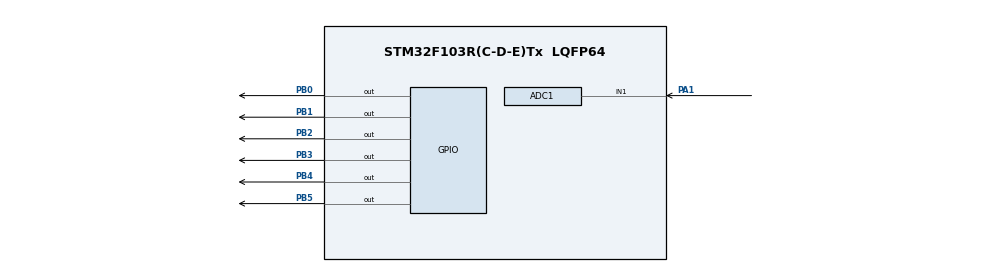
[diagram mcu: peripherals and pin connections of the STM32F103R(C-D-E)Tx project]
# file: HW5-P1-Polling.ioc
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ADC1.Channel-2\#ChannelRegularConversion=ADC_CHANNEL_1
ADC1.ContinuousConvMode=DISABLE
ADC1.NbrOfConversion=1
ADC1.NbrOfConversionFlag=1
ADC1.Rank-2\#ChannelRegularConversion=1
ADC1.SamplingTime-2\#ChannelRegularConversion=ADC_SAMPLETIME_239CYCLES_5
ADC1.master=1
Mcu.Family=STM32F1
Mcu.Name=STM32F103R(C-D-E)Tx
Mcu.Package=LQFP64
NVIC.PriorityGroup=NVIC_PRIORITYGROUP_4
PA1.Signal=ADCx_IN1
PA13.Mode=Serial_Wire
PA13.Signal=SYS_JTMS-SWDIO
PA14.Mode=Serial_Wire
PA14.Signal=SYS_JTCK-SWCLK
PB0.Signal=GPIO_Output
PB1.Signal=GPIO_Output
PB2.Signal=GPIO_Output
PB3.Signal=GPIO_Output
PB4.Signal=GPIO_Output
PB5.Signal=GPIO_Output
PD0-OSC_IN.Mode=HSE-External-Oscillator
PD0-OSC_IN.Signal=RCC_OSC_IN
PD1-OSC_OUT.Mode=HSE-External-Oscillator
PD1-OSC_OUT.Signal=RCC_OSC_OUT
ProjectManager.HeapSize=0x200
ProjectManager.StackSize=0x400
ProjectManager.TargetToolchain=MDK-ARM V5.32
RCC.APB1Freq_Value=8000000
RCC.APB2Freq_Value=8000000
SH.ADCx_IN1.0=ADC1_IN1,IN1
board=custom

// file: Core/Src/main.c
/* USER CODE BEGIN Header */
/**
  ******************************************************************************
  * @file           : main.c
  * @brief          : Main program body
  ******************************************************************************
  * @attention
  *
  * Copyright (c) 2026 STMicroelectronics.
  * All rights reserved.
  *
  * This software is licensed under terms that can be found in the LICENSE file
  * in the root directory of this software component.
  * If no LICENSE file comes with this software, it is provided AS-IS.
  *
  ******************************************************************************
  */
/* USER CODE END Header */
#include "main.h"

/* USER CODE BEGIN Includes */
#include "lcd.h"

/* USER CODE END Includes */

ADC_HandleTypeDef hadc1;

/* USER CODE BEGIN PV */
char lcd_buffer[16];
uint16_t raw_adc;
uint32_t sum_adc;
uint16_t avg_adc;
float final_voltage;
/* USER CODE END PV */

void SystemClock_Config(void);
static void MX_GPIO_Init(void);
static void MX_ADC1_Init(void);

int main(void)
{

  /* MCU Configuration--------------------------------------------------------*/

  /* Reset of all peripherals, Initializes the Flash interface and the Systick. */
  HAL_Init();

  /* Configure the system clock */
  SystemClock_Config();

  /* Initialize all configured peripherals */
  MX_GPIO_Init();
  MX_ADC1_Init();
  /* USER CODE BEGIN 2 */
	Lcd_PortType ports[] = { GPIOB, GPIOB, GPIOB, GPIOB };
  Lcd_PinType pins[] = {GPIO_PIN_0, GPIO_PIN_1, GPIO_PIN_2, GPIO_PIN_3};
  Lcd_HandleTypeDef lcd;
  lcd = Lcd_create(ports, pins, GPIOB, GPIO_PIN_4, GPIOB, GPIO_PIN_5, LCD_4_BIT_MODE);

  /* USER CODE END 2 */

  /* Infinite loop */
  /* USER CODE BEGIN WHILE */
  while (1)
  {
		uint32_t sum_adc = 0;
      uint8_t valid_samples = 0;

      // 1. Force the STM32 to wait for EXACTLY 50 successful conversions
      while(valid_samples < 50)
      {
          HAL_ADC_Start(&hadc1);

          // Use HAL_MAX_DELAY so Proteus cannot time out and skip a reading
          if(HAL_ADC_PollForConversion(&hadc1, HAL_MAX_DELAY) == HAL_OK)
          {
              sum_adc += HAL_ADC_GetValue(&hadc1);
              valid_samples++; // Only count it if it successfully reads!
          }
      }

      // Calculate the true average
      uint16_t avg_adc = sum_adc / 50;

      // 2. INTEGER MATH TRICK (Bypasses the need for floats and MicroLIB)
      // Multiply by 330 (instead of 3.3) to keep everything as whole numbers
      uint32_t volt_x100 = (avg_adc * 330) / 4095;

      uint8_t whole_part = volt_x100 / 100;     // Extracts the '3'
      uint8_t decimal_part = volt_x100 % 100;   // Extracts the '30'

      // Print the Raw integer average to Row 0
      snprintf(lcd_buffer, sizeof(lcd_buffer), "Raw Avg: %d    ", avg_adc);
      Lcd_cursor(&lcd, 0, 0);
      Lcd_string(&lcd, lcd_buffer);

      // Print the Voltage using our safe integers (e.g., "Volt: 3.30 V")
      // %d prints the whole number, %02d ensures the decimal prints two digits (like .05)
      snprintf(lcd_buffer, sizeof(lcd_buffer), "Volt: %d.%02d V   ", whole_part, decimal_part);
      Lcd_cursor(&lcd, 1, 0);
      Lcd_string(&lcd, lcd_buffer);

      // Wait half a second before grabbing the next batch
      HAL_Delay(500);
    /* USER CODE END WHILE */

  }
}

void SystemClock_Config(void)
{
  RCC_OscInitTypeDef RCC_OscInitStruct = {0};
  RCC_ClkInitTypeDef RCC_ClkInitStruct = {0};
  RCC_PeriphCLKInitTypeDef PeriphClkInit = {0};

  /** Initializes the RCC Oscillators according to the specified parameters
  * in the RCC_OscInitTypeDef structure.
  */
  RCC_OscInitStruct.OscillatorType = RCC_OSCILLATORTYPE_HSI;
  RCC_OscInitStruct.HSIState = RCC_HSI_ON;
  RCC_OscInitStruct.HSICalibrationValue = RCC_HSICALIBRATION_DEFAULT;
  RCC_OscInitStruct.PLL.PLLState = RCC_PLL_NONE;
  if (HAL_RCC_OscConfig(&RCC_OscInitStruct) != HAL_OK)
  {
    Error_Handler();
  }

  /** Initializes the CPU, AHB and APB buses clocks
  */
  RCC_ClkInitStruct.ClockType = RCC_CLOCKTYPE_HCLK|RCC_CLOCKTYPE_SYSCLK
                              |RCC_CLOCKTYPE_PCLK1|RCC_CLOCKTYPE_PCLK2;
  RCC_ClkInitStruct.SYSCLKSource = RCC_SYSCLKSOURCE_HSI;
  RCC_ClkInitStruct.AHBCLKDivider = RCC_SYSCLK_DIV1;
  RCC_ClkInitStruct.APB1CLKDivider = RCC_HCLK_DIV1;
  RCC_ClkInitStruct.APB2CLKDivider = RCC_HCLK_DIV1;

  if (HAL_RCC_ClockConfig(&RCC_ClkInitStruct, FLASH_LATENCY_0) != HAL_OK)
  {
    Error_Handler();
  }
  PeriphClkInit.PeriphClockSelection = RCC_PERIPHCLK_ADC;
  PeriphClkInit.AdcClockSelection = RCC_ADCPCLK2_DIV2;
  if (HAL_RCCEx_PeriphCLKConfig(&PeriphClkInit) != HAL_OK)
  {
    Error_Handler();
  }
}

static void MX_ADC1_Init(void)
{

  ADC_ChannelConfTypeDef sConfig = {0};

  /** Common config
  */
  hadc1.Instance = ADC1;
  hadc1.Init.ScanConvMode = ADC_SCAN_DISABLE;
  hadc1.Init.ContinuousConvMode = DISABLE;
  hadc1.Init.DiscontinuousConvMode = DISABLE;
  hadc1.Init.ExternalTrigConv = ADC_SOFTWARE_START;
  hadc1.Init.DataAlign = ADC_DATAALIGN_RIGHT;
  hadc1.Init.NbrOfConversion = 1;
  if (HAL_ADC_Init(&hadc1) != HAL_OK)
  {
    Error_Handler();
  }

  /** Configure Regular Channel
  */
  sConfig.Channel = ADC_CHANNEL_1;
  sConfig.Rank = ADC_REGULAR_RANK_1;
  sConfig.SamplingTime = ADC_SAMPLETIME_239CYCLES_5;
  if (HAL_ADC_ConfigChannel(&hadc1, &sConfig) != HAL_OK)
  {
    Error_Handler();
  }

}

static void MX_GPIO_Init(void)
{
  GPIO_InitTypeDef GPIO_InitStruct = {0};

  /* GPIO Ports Clock Enable */
  __HAL_RCC_GPIOD_CLK_ENABLE();
  __HAL_RCC_GPIOA_CLK_ENABLE();
  __HAL_RCC_GPIOB_CLK_ENABLE();

  /*Configure GPIO pin Output Level */
  HAL_GPIO_WritePin(GPIOB, GPIO_PIN_0|GPIO_PIN_1|GPIO_PIN_2|GPIO_PIN_3
                          |GPIO_PIN_4|GPIO_PIN_5, GPIO_PIN_RESET);

  /*Configure GPIO pins : PB0 PB1 PB2 PB3
                           PB4 PB5 */
  GPIO_InitStruct.Pin = GPIO_PIN_0|GPIO_PIN_1|GPIO_PIN_2|GPIO_PIN_3
                          |GPIO_PIN_4|GPIO_PIN_5;
  GPIO_InitStruct.Mode = GPIO_MODE_OUTPUT_PP;
  GPIO_InitStruct.Pull = GPIO_NOPULL;
  GPIO_InitStruct.Speed = GPIO_SPEED_FREQ_LOW;
  HAL_GPIO_Init(GPIOB, &GPIO_InitStruct);

}

void Error_Handler(void)
{
  __disable_irq();
  while (1)
  {
  }
}
